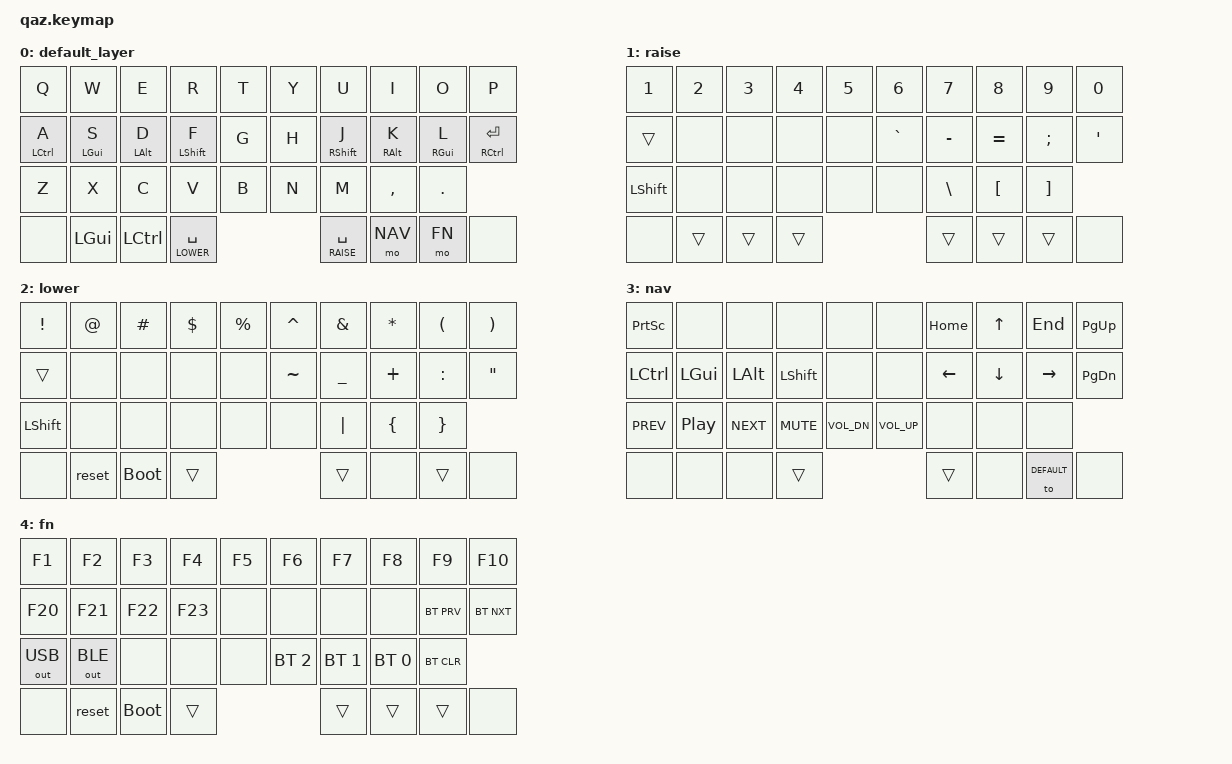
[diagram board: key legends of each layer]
/*
 * Copyright (c) 2020 The ZMK Contributors
 *
 * SPDX-License-Identifier: MIT
 */

#include <behaviors.dtsi>
#include <dt-bindings/zmk/keys.h>
#include <dt-bindings/zmk/bt.h>
#include <dt-bindings/zmk/outputs.h>

#define DEFAULT 0
#define RAISE   1
#define LOWER   2
#define NAV     3
#define FN      4



/ {
    behaviors { 
        hm: homerow_mods {
            compatible = "zmk,behavior-hold-tap";
            label = "homerow mods";
            #binding-cells = <2>;
            tapping-term-ms = <225>;
            flavor = "tap-preferred";
            bindings = <&kp>, <&kp>;
        };
    };
};

/{
    combos {
        compatible = "zmk,combos";
        combo_tab {
            timeout-ms = <50>;
            key-positions = <0 1>;
            bindings = <&kp TAB>;
        };

        combo_esc {
            timeout-ms = <50>;
            key-positions = <1 2>;
            bindings = <&kp ESC>;
        };

        combo_bspc {
            timeout-ms = <50>;
            key-positions = <8 9>;
            bindings = <&kp BSPC>;
        };

        combo_del {
            timeout-ms = <50>;
            key-positions = <7 8>;
            bindings = <&kp DEL>;
        };
        
        combo_fslh {
            timeout-ms = <50>;
            key-positions = <27 28>;
            bindings = <&kp FSLH>;
        };
    };
};

/ {
 
    keymap {
        compatible = "zmk,keymap";

        default_layer {
            bindings = <
                &kp Q      &kp W      &kp E       &kp R       &kp T  &kp Y  &kp U       &kp I       &kp O      &kp P
                &hm LCTRL A &hm LGUI S &hm LALT D &hm LSHFT F &kp G  &kp H  &hm RSHFT J &hm RALT K &hm RGUI L &hm RCTRL RET
                &kp Z      &kp X      &kp C       &kp V       &kp B  &kp N  &kp M       &kp COMMA   &kp DOT
                &none      &kp LGUI   &kp LCTRL   &lt LOWER SPACE   &lt RAISE SPACE    &mo NAV      &mo FN   &none
            >;
        };
        
        raise {
            bindings = <
                &kp N1     &kp N2     &kp N3   &kp N4        &kp N5  &kp N6    &kp N7     &kp N8    &kp N9    &kp N0
                &trans     &none      &none    &none         &none   &kp GRAVE &kp MINUS  &kp EQUAL &kp SEMI  &kp SQT 
                &kp LSHFT  &none      &none    &none         &none   &none     &kp BSLH   &kp LBKT  &kp RBKT 
                &none      &trans     &trans         &trans        &trans              &trans       &trans     &none
            >;
        };

        lower {
            bindings = <
                &kp EXCL   &kp AT     &kp HASH  &kp DLLR  &kp PRCNT &kp CARET  &kp AMPS   &kp STAR  &kp LPAR  &kp RPAR
                &trans     &none      &none     &none     &none     &kp TILDE  &kp UNDER  &kp PLUS  &kp COLON &kp DQT 
                &kp LSHFT  &none      &none     &none     &none     &none      &kp PIPE   &kp LBRC  &kp RBRC 
                &none      &reset     &bootloader     &trans        &trans              &none       &trans    &none
            >;
        };
        

        nav {
            bindings = <
                &kp PSCRN   &none     &none         &none        &none         &none        &kp HOME      &kp UP        &kp END     &kp PG_UP
                &kp LCTRL   &kp LGUI  &kp LALT      &kp LSHFT    &none         &none        &kp LEFT      &kp DOWN      &kp RIGHT   &kp PG_DN
                &kp C_PREV  &kp C_PP  &kp C_NEXT    &kp K_MUTE   &kp C_VOL_DN  &kp C_VOL_UP &none         &none         &none
                &none      &none      &none         &trans        &trans                  &none      &to DEFAULT    &none
            >;
        };
        
        fn {
            bindings = <
                &kp F1        &kp F2       &kp F3   &kp F4   &kp F5  &kp F6       &kp F7       &kp F8       &kp F9      &kp F10
                &kp F20       &kp F21      &kp F22  &kp F23  &none   &none        &none        &none        &bt BT_PRV  &bt BT_NXT 
                &out OUT_USB  &out OUT_BLE &none    &none    &none   &bt BT_SEL 2 &bt BT_SEL 1 &bt BT_SEL 0 &bt BT_CLR
                &none      &reset     &bootloader      &trans        &trans              &trans       &trans     &none
            >;
        };
    };
};
